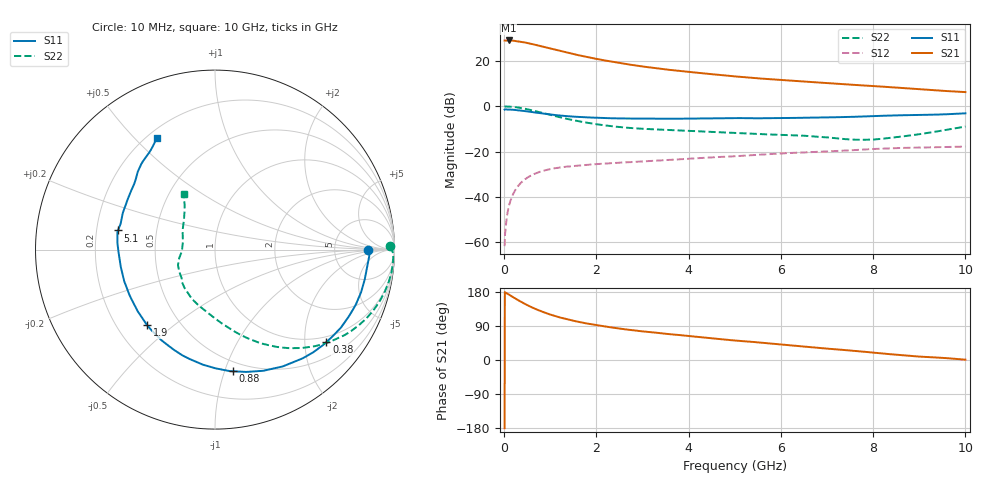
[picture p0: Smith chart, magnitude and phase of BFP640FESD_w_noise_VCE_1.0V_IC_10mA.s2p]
! Infineon Technologies  Discrete & RF Semiconductors
! BFP640FESD
! VCE =  1.0 V,  IC =  10 mA
! Common Emitter S-Parameters:  Jan 2016
# GHz  S  MA  R  50
!  f  S11  S21  S12  S22
! GHz  MAG  ANG  MAG  ANG  MAG  ANG  MAG  ANG
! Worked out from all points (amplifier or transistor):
!   233 points, 10 MHz to 10 GHz, reference 50 ohm
!   highest |S21| = 29.2 dB at 100 MHz (marker M1)
!   |S21| within 3 dB of that: start of sweep to 890 MHz
!   unconditionally stable (mu >= 1): 5.154 GHz to end of sweep
!   at 200 MHz: K = 0.05, MSG = 33.9 dB, |S12| = -38.6 dB
!   at 1.74 GHz: K = 0.50, MSG = 24.0 dB, |S12| = -26.0 dB
!   at 10 GHz: K = 1.15, MAG = 9.7 dB, |S12| = -17.8 dB
!   lowest NFmin = 0.67 dB at 450 MHz
!   S11 on the Smith chart (normalised r, x): 10 MHz: 12, -0; 380 MHz: 0.85, -2.52; 880 MHz: 0.42, -1.07; 1.9 GHz: 0.33, -0.40; 5.1 GHz: 0.29, +0.09; 10 GHz: 0.24, +0.58
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0.01  0.8498 -0.2  28.75 -180.0  0.0008 133.0  0.9776 1.1
0.05  0.8551 -5.3  28.76 176.3  0.003 91.3  0.9949 -3.4
0.1  0.8513 -10.8  28.91 173.0  0.006 84.3  0.9917 -7.1
0.2  0.8423 -21.4  28.52 165.4  0.0117 79.0  0.9739 -14.2
0.26  0.8314 -27.6  28 160.8  0.0149 75.7  0.9576 -18.3
0.38  0.8065 -39.7  26.88 152.7  0.021 69.7  0.9156 -26.1
0.5  0.7783 -51.1  25.46 144.9  0.0264 64.4  0.866 -33.3
0.6  0.7524 -59.9  24.19 138.8  0.0301 60.4  0.8209 -38.8
0.7  0.7267 -68.3  22.89 133.5  0.0334 56.8  0.7758 -43.9
0.88  0.6852 -81.6  20.58 125.0  0.0382 51.6  0.698 -51.9
1  0.6614 -89.8  19.16 119.9  0.0408 48.8  0.6496 -56.9
1.2  0.6291 -101.8  17.06 112.5  0.0442 45.0  0.5788 -64.2
1.4  0.6036 -112.2  15.22 106.3  0.0468 42.2  0.5193 -70.6
1.68  0.5787 -124.2  13.16 99.0  0.0497 39.6  0.4555 -78.4
1.9  0.5658 -132.1  11.82 94.1  0.0517 38.2  0.4173 -84.1
2.2  0.551 -141.3  10.35 88.1  0.0542 37.0  0.3781 -91.1
2.6  0.5398 -152.1  8.834 81.3  0.0573 36.0  0.3412 -100.3
3.4  0.5331 -167.8  6.795 70.6  0.0635 35.7  0.3054 -113.9
5.1  0.5508 168.8  4.533 50.5  0.0798 34.3  0.2557 -136.0
6.8  0.5655 147.5  3.392 32.3  0.0985 29.8  0.2124 -162.4
8.4  0.6285 130.9  2.652 15.0  0.1182 23.6  0.2024 152.9
10  0.7022 117.3  2.074 0.9  0.1284 15.4  0.3577 119.2
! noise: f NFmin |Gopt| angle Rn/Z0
0.45  0.67  0.2  5  0.1
2.4  0.75  0.1  68  0.1
5.5  0.99  0.3  160  0.07
10  1.63  0.46  -117  0.24
